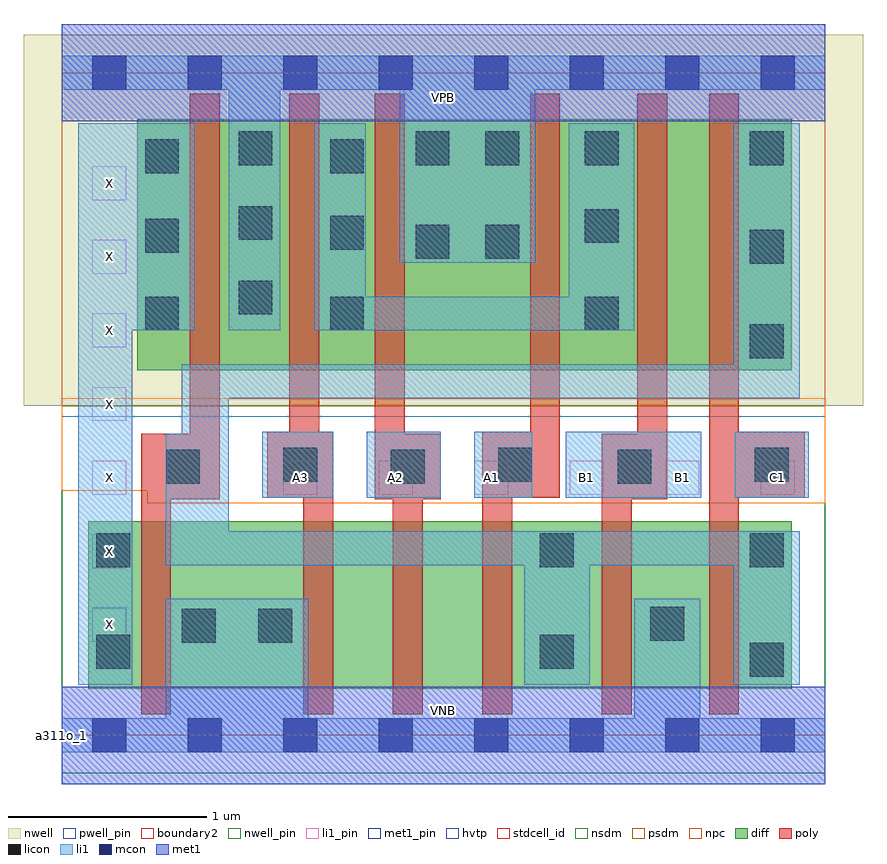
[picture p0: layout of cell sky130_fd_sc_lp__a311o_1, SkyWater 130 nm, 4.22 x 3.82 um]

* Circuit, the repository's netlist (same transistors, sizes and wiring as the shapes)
* Copyright 2020 The SkyWater PDK Authors
*
* Licensed under the Apache License, Version 2.0 (the "License");
* you may not use this file except in compliance with the License.
* You may obtain a copy of the License at
*
*     https://www.apache.org/licenses/LICENSE-2.0
*
* Unless required by applicable law or agreed to in writing, software
* distributed under the License is distributed on an "AS IS" BASIS,
* WITHOUT WARRANTIES OR CONDITIONS OF ANY KIND, either express or implied.
* See the License for the specific language governing permissions and
* limitations under the License.
*
* SPDX-License-Identifier: Apache-2.0

.SUBCKT sky130_fd_sc_lp__a311o_1 A1 A2 A3 B1 C1 VGND VNB VPB VPWR X
*.PININFO A1:I A2:I A3:I B1:I C1:I VGND:I VNB:I VPB:I VPWR:I X:O
MMPA0 pndA A1 VPWR VPB sky130_fd_pr__pfet_01v8_hvt m=1 w=1.26U l=0.15U mult=1 sa=0.265
+ sb=0.265 sd=0.28 area=0.063 perim=1.14
MMPA1 pndA A2 VPWR VPB sky130_fd_pr__pfet_01v8_hvt m=1 w=1.26U l=0.15U mult=1 sa=0.265
+ sb=0.265 sd=0.28 area=0.063 perim=1.14
MMPA2 pndA A3 VPWR VPB sky130_fd_pr__pfet_01v8_hvt m=1 w=1.26U l=0.15U mult=1 sa=0.265
+ sb=0.265 sd=0.28 area=0.063 perim=1.14
MMPB0 pndB B1 pndA VPB sky130_fd_pr__pfet_01v8_hvt m=1 w=1.26U l=0.15U mult=1 sa=0.265
+ sb=0.265 sd=0.28 area=0.063 perim=1.14
MMPC0 y C1 pndB VPB sky130_fd_pr__pfet_01v8_hvt m=1 w=1.26U l=0.15U mult=1 sa=0.265
+ sb=0.265 sd=0.28 area=0.063 perim=1.14
MMIPX X y VPWR VPB sky130_fd_pr__pfet_01v8_hvt m=1 w=1.26U l=0.15U mult=1 sa=0.265
+ sb=0.265 sd=0.28 area=0.063 perim=1.14
MMNA0 y A1 sndA1 VNB sky130_fd_pr__nfet_01v8 m=1 w=0.84U l=0.15U mult=1 sa=0.265
+ sb=0.265 sd=0.28 area=0.063 perim=1.14
MMNA1 sndA1 A2 sndA2 VNB sky130_fd_pr__nfet_01v8 m=1 w=0.84U l=0.15U mult=1 sa=0.265
+ sb=0.265 sd=0.28 area=0.063 perim=1.14
MMNA2 sndA2 A3 VGND VNB sky130_fd_pr__nfet_01v8 m=1 w=0.84U l=0.15U mult=1 sa=0.265
+ sb=0.265 sd=0.28 area=0.063 perim=1.14
MMNB0 y B1 VGND VNB sky130_fd_pr__nfet_01v8 m=1 w=0.84U l=0.15U mult=1 sa=0.265
+ sb=0.265 sd=0.28 area=0.063 perim=1.14
MMNC0 y C1 VGND VNB sky130_fd_pr__nfet_01v8 m=1 w=0.84U l=0.15U mult=1 sa=0.265
+ sb=0.265 sd=0.28 area=0.063 perim=1.14
MMINX X y VGND VNB sky130_fd_pr__nfet_01v8 m=1 w=0.84U l=0.15U mult=1 sa=0.265
+ sb=0.265 sd=0.28 area=0.063 perim=1.14
.ENDS sky130_fd_sc_lp__a311o_1

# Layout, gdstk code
import gdstk
lib = gdstk.Library(unit=1e-6, precision=1e-09)
def R(c, l, rs):  # rectangles x0, y0, x1, y1
    for r in rs: c.add(gdstk.rectangle(r[:2], r[2:], *l))
def A(c, l, x, y, w, h, nx, ny, dx, dy):  # array of equal rectangles
    R(c, l, [(x+i*dx, y+j*dy, x+i*dx+w, y+j*dy+h) for i in range(nx) for j in range(ny)])
def P(c, l, *ps):  # polygons
    for p in ps: c.add(gdstk.Polygon(p, *l))
nwell_pin = (64, 16)
nwell = (64, 20)
diff = (65, 20)
poly = (66, 20)
licon = (66, 44)
li1_pin = (67, 16)
li1 = (67, 20)
mcon = (67, 44)
met1_pin = (68, 16)
met1 = (68, 20)
hvtp = (78, 44)
stdcell_id = (81, 4)
nsdm = (93, 44)
psdm = (94, 20)
npc = (95, 20)
pwell_pin = (122, 16)
boundary2 = (236, 0)

sky130_fd_sc_lp__a311o_1 = lib.new_cell('sky130_fd_sc_lp__a311o_1')
R(sky130_fd_sc_lp__a311o_1, nwell_pin, [(0,3.085,3.84,3.33)])
R(sky130_fd_sc_lp__a311o_1, nwell, [(-0.19,1.655,4.03,3.52)])
R(sky130_fd_sc_lp__a311o_1, diff, [(0.135,0.235,3.67,1.075), (0.38,1.835,3.67,3.095)])
P(sky130_fd_sc_lp__a311o_1, poly, [(0.795,3.225),(0.645,3.225),(0.645,1.515),(0.4,1.515),(0.4,0.105),(0.55,0.105),(0.55,1.185),(0.795,1.185)],
  [(1.365,1.525),(1.295,1.525),(1.295,3.225),(1.145,3.225),(1.145,1.525),(1.035,1.525),(1.035,1.195),(1.215,1.195),(1.215,0.105),(1.365,0.105)],
  [(1.905,1.515),(1.725,1.515),(1.725,3.225),(1.575,3.225),(1.575,1.185),(1.665,1.185),(1.665,0.105),(1.815,0.105),(1.815,1.185),(1.905,1.185)],
  [(2.505,3.225),(2.355,3.225),(2.355,1.525),(2.115,1.525),(2.115,0.105),(2.265,0.105),(2.265,1.195),(2.505,1.195)],
  [(3.045,3.225),(2.895,3.225),(2.895,1.515),(2.715,1.515),(2.715,0.105),(2.865,0.105),(2.865,1.185),(3.045,1.185)],
  [(3.735,1.525),(3.405,1.525),(3.405,3.225),(3.255,3.225),(3.255,0.105),(3.405,0.105),(3.405,1.195),(3.735,1.195)])
A(sky130_fd_sc_lp__a311o_1, licon, 0.89, 2.115, 0.17, 0.17, 1, 3, 0, 0.375)
R(sky130_fd_sc_lp__a311o_1, licon, [(3.46,0.295,3.63,0.465), (0.175,0.335,0.345,0.505), (2.405,0.335,2.575,0.505), (0.605,0.465,0.775,0.635), (0.99,0.465,1.16,0.635), (2.96,0.475,3.13,0.645), (0.175,0.845,0.345,1.015), (2.405,0.845,2.575,1.015), (3.46,0.845,3.63,1.015), (0.525,1.265,0.695,1.435), (1.655,1.265,1.825,1.435), (2.795,1.265,2.965,1.435), (1.115,1.275,1.285,1.445), (2.195,1.275,2.365,1.445), (3.485,1.275,3.655,1.445), (3.46,1.895,3.63,2.065), (0.42,2.035,0.59,2.205), (1.35,2.035,1.52,2.205), (2.63,2.035,2.8,2.205), (3.46,2.37,3.63,2.54), (1.78,2.395,1.95,2.565), (2.13,2.395,2.3,2.565), (0.42,2.425,0.59,2.595), (1.35,2.44,1.52,2.61), (2.63,2.475,2.8,2.645), (0.42,2.825,0.59,2.995), (1.35,2.825,1.52,2.995), (1.78,2.865,1.95,3.035), (2.13,2.865,2.3,3.035), (2.63,2.865,2.8,3.035), (3.46,2.865,3.63,3.035)])
A(sky130_fd_sc_lp__a311o_1, li1_pin, 0.155, 0.47, 0.17, 0.17, 1, 7, 0, 0.37)
A(sky130_fd_sc_lp__a311o_1, li1_pin, 1.115, 1.21, 0.17, 0.17, 6, 1, 0.48, 0)
R(sky130_fd_sc_lp__a311o_1, li1, [(1.01,1.195,1.365,1.525), (1.535,1.195,1.905,1.525), (2.075,1.195,2.365,1.525), (2.535,1.195,3.215,1.525), (3.385,1.195,3.755,1.525)])
P(sky130_fd_sc_lp__a311o_1, li1, [(1.7,2.375),(1.7,3.245),(1.1,3.245),(1.1,2.035),(0.84,2.035),(0.84,3.245),(0,3.245),(0,3.415),(3.84,3.415),(3.84,3.245),(2.38,3.245),(2.38,2.375)],
  [(2.88,0.085),(2.88,0.685),(3.21,0.685),(3.21,0.085),(3.84,0.085),(3.84,-0.085),(0,-0.085),(0,0.085),(0.525,0.085),(0.525,0.685),(1.24,0.685),(1.24,0.085)],
  [(3.71,1.025),(0.84,1.025),(0.84,1.695),(3.71,1.695),(3.71,3.075),(3.38,3.075),(3.38,1.865),(0.605,1.865),(0.605,1.515),(0.525,1.515),(0.525,0.855),(2.325,0.855),(2.325,0.255),(2.655,0.255),(2.655,0.855),(3.38,0.855),(3.38,0.255),(3.71,0.255)],
  [(1.53,2.205),(2.55,2.205),(2.55,3.075),(2.88,3.075),(2.88,2.035),(1.27,2.035),(1.27,3.075),(1.53,3.075)],
  [(0.67,3.075),(0.085,3.075),(0.085,0.255),(0.355,0.255),(0.355,2.035),(0.67,2.035)])
A(sky130_fd_sc_lp__a311o_1, mcon, 0.155, -0.085, 0.17, 0.17, 8, 2, 0.48, 3.33)
R(sky130_fd_sc_lp__a311o_1, met1_pin, [(0,0,3.84,0.245), (0,3.085,3.84,3.33)])
R(sky130_fd_sc_lp__a311o_1, met1, [(0,-0.245,3.84,0.245), (0,3.085,3.84,3.575)])
R(sky130_fd_sc_lp__a311o_1, hvtp, [(0,1.6,3.84,3.33)])
R(sky130_fd_sc_lp__a311o_1, stdcell_id, [(0,0,3.84,3.33)])
R(sky130_fd_sc_lp__a311o_1, nsdm, [(0,-0.19,3.84,1.655)])
R(sky130_fd_sc_lp__a311o_1, psdm, [(0,1.655,3.84,3.52)])
P(sky130_fd_sc_lp__a311o_1, npc, [(3.84,1.695),(0,1.695),(0,1.23),(0.43,1.23),(0.43,1.165),(3.84,1.165)])
R(sky130_fd_sc_lp__a311o_1, pwell_pin, [(0,0,3.84,0.245)])
R(sky130_fd_sc_lp__a311o_1, boundary2, [(0,0,3.84,3.33)])
sky130_fd_sc_lp__a311o_1.add(gdstk.Label('VNB', (1.92,0.123), layer=64, texttype=59))
sky130_fd_sc_lp__a311o_1.add(gdstk.Label('VPB', (1.92,3.208), layer=64, texttype=5))
sky130_fd_sc_lp__a311o_1.add(gdstk.Label('a311o_1', (0,0), layer=83, texttype=44))
sky130_fd_sc_lp__a311o_1.add(gdstk.Label('VPWR', (1.92,3.208), layer=68, texttype=5))
sky130_fd_sc_lp__a311o_1.add(gdstk.Label('VGND', (1.92,0.123), layer=68, texttype=5))
sky130_fd_sc_lp__a311o_1.add(gdstk.Label('A1', (2.16,1.295), layer=67, texttype=5))
sky130_fd_sc_lp__a311o_1.add(gdstk.Label('A2', (1.68,1.295), layer=67, texttype=5))
sky130_fd_sc_lp__a311o_1.add(gdstk.Label('A3', (1.2,1.295), layer=67, texttype=5))
sky130_fd_sc_lp__a311o_1.add(gdstk.Label('B1', (2.64,1.295), layer=67, texttype=5))
sky130_fd_sc_lp__a311o_1.add(gdstk.Label('B1', (3.12,1.295), layer=67, texttype=5))
sky130_fd_sc_lp__a311o_1.add(gdstk.Label('C1', (3.6,1.295), layer=67, texttype=5))
sky130_fd_sc_lp__a311o_1.add(gdstk.Label('X', (0.24,0.555), layer=67, texttype=5))
sky130_fd_sc_lp__a311o_1.add(gdstk.Label('X', (0.24,0.925), layer=67, texttype=5))
sky130_fd_sc_lp__a311o_1.add(gdstk.Label('X', (0.24,1.295), layer=67, texttype=5))
sky130_fd_sc_lp__a311o_1.add(gdstk.Label('X', (0.24,1.665), layer=67, texttype=5))
sky130_fd_sc_lp__a311o_1.add(gdstk.Label('X', (0.24,2.035), layer=67, texttype=5))
sky130_fd_sc_lp__a311o_1.add(gdstk.Label('X', (0.24,2.405), layer=67, texttype=5))
sky130_fd_sc_lp__a311o_1.add(gdstk.Label('X', (0.24,2.775), layer=67, texttype=5))

lib.write_gds('sky130_fd_sc_lp__a311o_1.gds')
